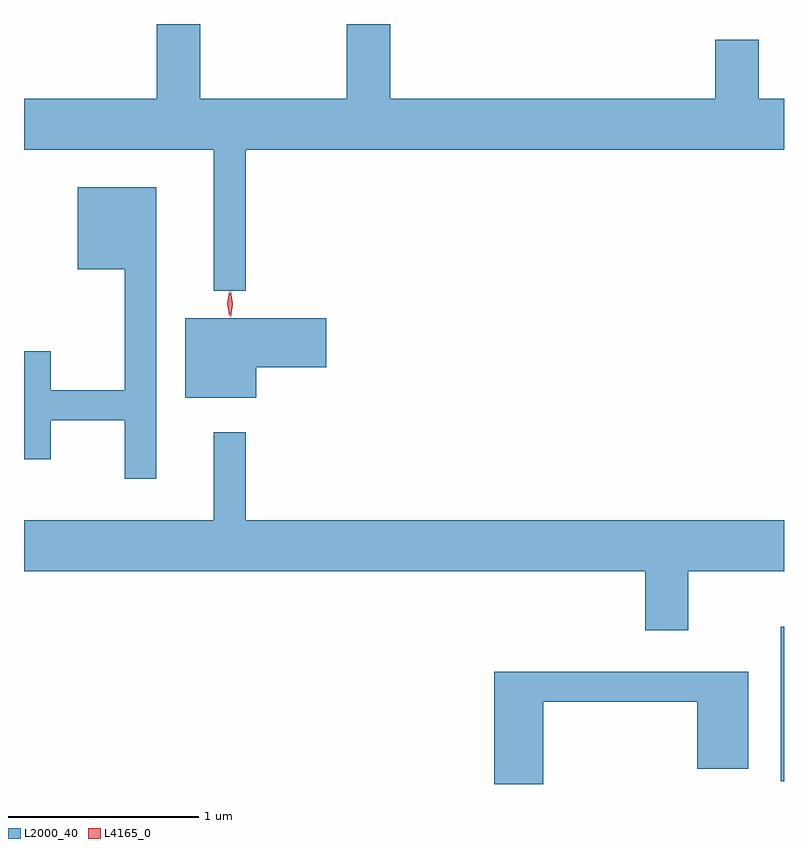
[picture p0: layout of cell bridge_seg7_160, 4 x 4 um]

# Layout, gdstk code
import gdstk
lib = gdstk.Library(unit=1e-6, precision=1e-09)
def R(c, l, rs):  # rectangles x0, y0, x1, y1
    for r in rs: c.add(gdstk.rectangle(r[:2], r[2:], *l))
def P(c, l, *ps):  # polygons
    for p in ps: c.add(gdstk.Polygon(p, *l))
L2000_40 = (2000, 40)
L4165_0 = (4165, 0)

bridge_seg7_160 = lib.new_cell('bridge_seg7_160')
R(bridge_seg7_160, L2000_40, [(1602.056,1671.031,1602.072,1671.844)])
P(bridge_seg7_160, L2000_40, [(1599.239,1674.356),(1602.072,1674.356),(1602.072,1674.624),(1601.939,1674.624),(1601.939,1674.934),(1601.711,1674.934),(1601.711,1674.624),(1599.999,1674.624),(1599.999,1675.017),(1599.771,1675.017),(1599.771,1674.624),(1598.999,1674.624),(1598.999,1675.017),(1598.771,1675.017),(1598.771,1674.624),(1598.072,1674.624),(1598.072,1674.356),(1599.071,1674.356),(1599.071,1673.613),(1599.239,1673.613)],
  [(1598.769,1674.159),(1598.356,1674.159),(1598.356,1673.726),(1598.601,1673.726),(1598.601,1673.089),(1598.214,1673.089),(1598.214,1673.294),(1598.072,1673.294),(1598.072,1672.726),(1598.214,1672.726),(1598.214,1672.931),(1598.601,1672.931),(1598.601,1672.623),(1598.769,1672.623)],
  [(1599.294,1673.211),(1599.664,1673.211),(1599.664,1673.469),(1598.921,1673.469),(1598.921,1673.051),(1599.294,1673.051)],
  [(1601.569,1672.136),(1602.072,1672.136),(1602.072,1672.404),(1599.239,1672.404),(1599.239,1672.868),(1599.071,1672.868),(1599.071,1672.404),(1598.072,1672.404),(1598.072,1672.136),(1601.341,1672.136),(1601.341,1671.826),(1601.569,1671.826)],
  [(1600.804,1671.451),(1601.616,1671.451),(1601.616,1671.096),(1601.884,1671.096),(1601.884,1671.609),(1600.546,1671.609),(1600.546,1671.017),(1600.804,1671.017)])
P(bridge_seg7_160, L4165_0, [(1599.16,1673.474),(1599.16,1673.474),(1599.15,1673.542),(1599.159,1673.61),(1599.159,1673.61),(1599.16,1673.61),(1599.17,1673.542),(1599.161,1673.474)],
  [(1599.152,1673.48),(1599.151,1673.481),(1599.142,1673.544),(1599.151,1673.606),(1599.152,1673.607),(1599.152,1673.606),(1599.162,1673.544),(1599.152,1673.481)])

lib.write_gds('bridge_seg7_160.gds')
